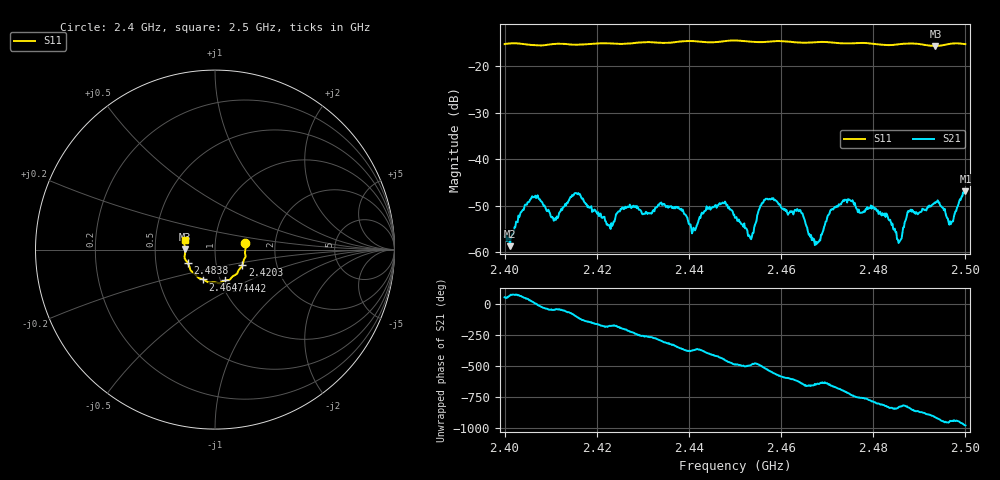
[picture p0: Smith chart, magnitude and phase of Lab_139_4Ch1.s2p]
# Hz S RI R 50
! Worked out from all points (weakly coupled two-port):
!   601 points, 2.4 GHz to 2.5 GHz, reference 50 ohm
!   highest |S21| = -46.84 dB at 2.5 GHz (marker M1); lowest = -58.7 dB at 2.4012 GHz (marker M2)
!   lowest |S11| = -15.6 dB at 2.4935 GHz (marker M3), VSWR 1.40, Z = 35.8 + j0.0983 ohm
!   |S11| at or under -10 dB: start of sweep to end of sweep
!   S12 and S22 are empty: the file has one direction only
!   S11 on the Smith chart (normalised r, x): 2.4 GHz: 1.40, +0.11; 2.4203 GHz: 1.34, -0.24; 2.4442 GHz: 1.06, -0.37; 2.4647 GHz: 0.83, -0.29; 2.4838 GHz: 0.73, -0.11; 2.5 GHz: 0.71, +0.08
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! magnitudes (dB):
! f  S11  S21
! 2.4 GHz  -15.2  -56.6
! 2.4012 GHz  -15.1  -58.7
! 2.4062 GHz  -15.4  -48.2
! 2.411 GHz  -15.2  -52.6
! 2.4167 GHz  -15.3  -48.3
! 2.4203 GHz  -15.1  -51.4
! 2.4333 GHz  -14.9  -49.8
! 2.441 GHz  -14.6  -54.7
! 2.4442 GHz  -14.8  -50.6
! 2.45 GHz  -14.4  -52.6
! 2.4533 GHz  -14.7  -57.0
! 2.4568 GHz  -14.7  -48.5
! 2.4647 GHz  -14.9  -51.7
! 2.4667 GHz  -14.9  -57.4
! 2.4737 GHz  -15.1  -49.0
! 2.4833 GHz  -15.4  -52.9
! 2.4838 GHz  -15.4  -53.5
! 2.4857 GHz  -15.2  -57.8
! 2.4878 GHz  -15.1  -51.1
! 2.4935 GHz  -15.6  -49.4
! 2.4968 GHz  -15.1  -54.0
! 2.5 GHz  -15.2  -46.8
